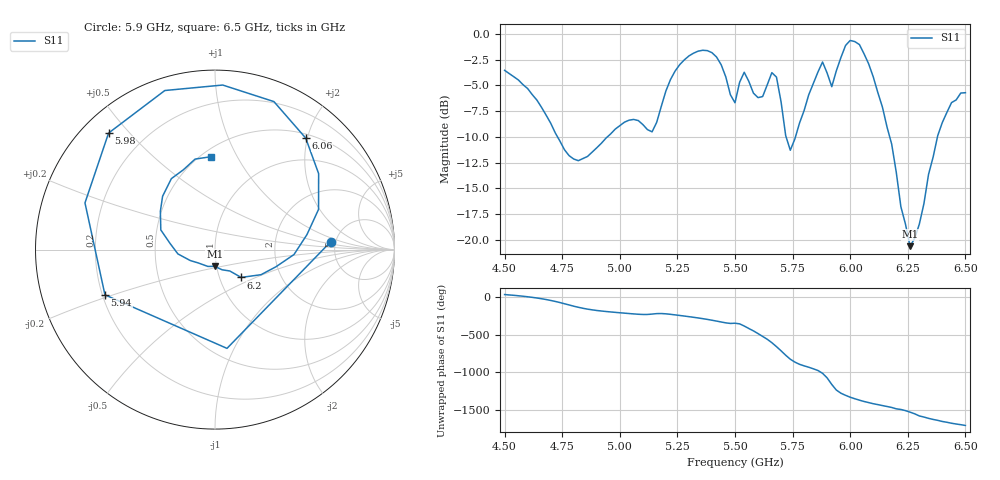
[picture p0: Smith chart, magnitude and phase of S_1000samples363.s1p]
! TOUCHSTONE file generated by CST MICROWAVE STUDIO
! Date and time: Thu Oct 27 22:05:17 2022
! Project name: L.cst
! Parameters = {Di=1.27; Epsilon_r=1.56; InnerDiameter=1.27; Length=2; Lf=10; Lg=60; OuterConductorThickness=0.2921; OuterDiameter=3.6; Wf=3; Wp=41.2; de=1.5; df=6.8; g=0.8; gx=2.77219; gy=0.94043; h=2.34; hf=1.524; px=13.4055; py=14.2669; w=9.7; wx=10.6333; wy=13.3265}
! Header version: 2018
! Port assignment regex: !\s*Touchstone port\s*([0-9]+)\s*=\s*(CST MWS port|CST DS port)\s*([0-9]+|Zmin|Zmax)\s*\(\"(.*)\"\)(\s*mode\s*([0-9]+))?.*
! Touchstone port assignment:
! Touchstone port 1 = CST MWS port 1 ("")
# GHz S DB R 50
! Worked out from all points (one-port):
!   101 points, 4.5 GHz to 6.5 GHz, reference 50 ohm
!   lowest |S11| = -20.6 dB at 6.26 GHz (marker M1), VSWR 1.21, Z = 48.9 - j9.21 ohm
!   |S11| at or under -10 dB: 4.73 GHz to 4.946 GHz (216.1 MHz wide, 4.47 % of centre); 5.722 GHz to 5.762 GHz (40.63 MHz wide, 0.708 % of centre); 6.172 GHz to 6.379 GHz (207.2 MHz wide, 3.3 % of centre)
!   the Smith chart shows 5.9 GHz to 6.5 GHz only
!   S11 on the Smith chart (normalised r, x): 5.9 GHz: 4.53, +0.66; 5.94 GHz: 0.21, -0.19; 5.98 GHz: 0.08, +0.44; 6.06 GHz: 0.57, +1.97; 6.2 GHz: 1.27, -0.41; 6.5 GHz: 0.56, +0.79
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4.5  -3.54 31.6
4.76  -11.25 -90.8
5  -8.91 149.6
5.16  -8.59 138.4
5.26  -2.99 113.7
5.34  -1.67 80.7
5.42  -2.25 38.9
5.5  -6.69 10.6
5.54  -3.73 -26.4
5.58  -5.75 -91.2
5.62  -6.08 -164.8
5.66  -3.76 111.8
5.7  -6.60 3.7
5.72  -9.87 -54.5
5.76  -10.19 -146.2
5.82  -5.91 145.9
5.86  -3.70 102.4
5.88  -2.73 64.9
5.9  -3.81 3.8
5.92  -5.12 -83.1
5.94  -3.57 -157.6
5.98  -1.12 132.4
6  -0.64 107.5
6.06  -1.93 50.9
6.2  -13.44 -46.7
6.26  -20.61 -91.2
6.4  -8.59 144.9
6.5  -5.71 92.3
